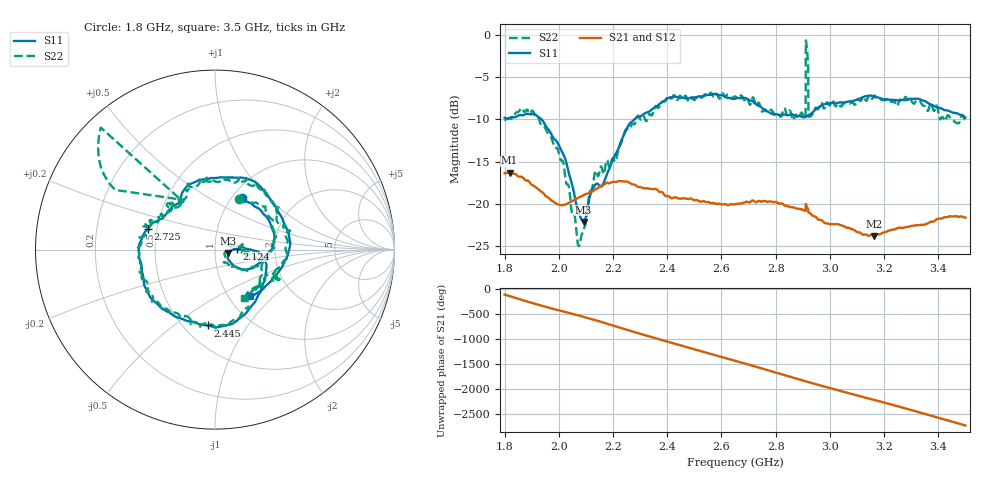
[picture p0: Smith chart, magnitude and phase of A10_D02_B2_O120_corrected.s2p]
! Created with skrf 1.9.0 (http://scikit-rf.org).
# Hz S RI R 50.0
!freq ReS11 ImS11 ReS21 ImS21 ReS12 ImS12 ReS22 ImS22
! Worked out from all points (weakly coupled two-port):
!   1601 points, 1.8 GHz to 3.5 GHz, reference 50 ohm
!   highest |S21| = -16.30 dB at 1.818 GHz (marker M1); lowest = -23.8 dB at 3.162 GHz (marker M2)
!   lowest |S11| = -22.2 dB at 2.091 GHz (marker M3), VSWR 1.17, Z = 58.1 - j2.48 ohm
!   |S11| at or under -10 dB: 1.937 GHz to 2.278 GHz (341.4 MHz wide, 16.2 % of centre)
!   |S22| runs from -25.0 to -0.6 dB; largest |S21 - S12| = 0.0026
!   S11 on the Smith chart (normalised r, x): 1.8 GHz: 1.12, +0.71; 2.124 GHz: 1.28, +0.01; 2.445 GHz: 0.65, -0.67; 2.725 GHz: 0.44, +0.12; 3.5 GHz: 1.26, -0.73
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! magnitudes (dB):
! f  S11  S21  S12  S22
! 1.8 GHz  -9.8  -16.4  -16.4  -10.0
! 1.818 GHz  -9.8  -16.3  -16.3  -9.9
! 1.902 GHz  -9.4  -17.8  -17.7  -8.9
! 1.967 GHz  -11.4  -19.4  -19.5  -11.9
! 2.021 GHz  -14.4  -20.1  -20.1  -16.1
! 2.071 GHz  -20.9  -19.3  -19.3  -24.9
! 2.084 GHz  -21.8  -19.1  -19.1  -23.7
! 2.091 GHz  -22.2  -19.0  -19.0  -23.0
! 2.124 GHz  -18.3  -18.5  -18.5  -18.0
! 2.163 GHz  -17.7  -17.8  -17.7  -16.4
! 2.261 GHz  -10.5  -17.5  -17.5  -11.1
! 2.367 GHz  -8.3  -18.5  -18.4  -8.6
! 2.445 GHz  -7.4  -19.4  -19.4  -7.2
! 2.65 GHz  -7.5  -20.1  -20.0  -7.3
! 2.725 GHz  -8.1  -19.8  -19.8  -8.2
! 2.902 GHz  -9.7  -20.7  -20.7  -9.5
! 2.911 GHz  -9.7  -20.0  -20.0  -0.6
! 2.92 GHz  -9.5  -20.7  -20.7  -3.8
! 2.934 GHz  -9.2  -21.4  -21.3  -9.5
! 3.162 GHz  -7.3  -23.8  -23.8  -7.3
! 3.217 GHz  -7.6  -23.2  -23.2  -7.5
! 3.5 GHz  -9.8  -21.6  -21.6  -10.0
